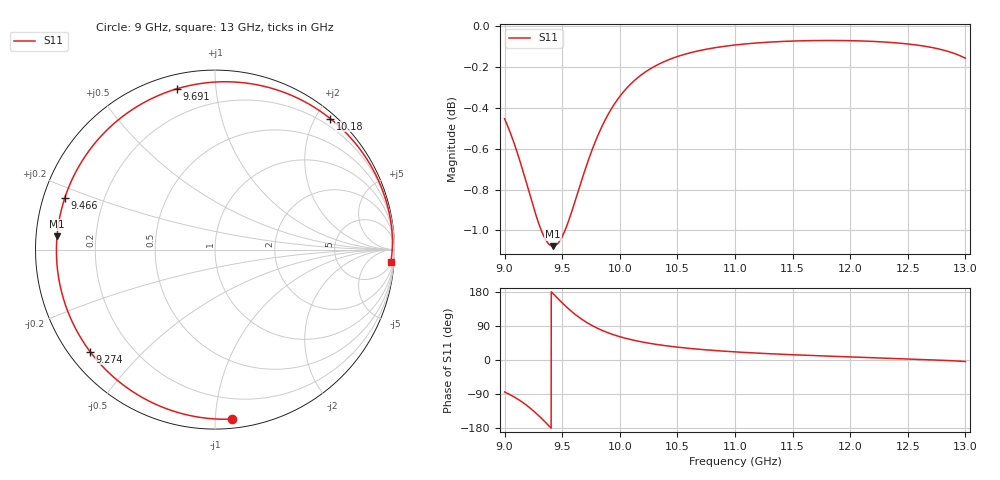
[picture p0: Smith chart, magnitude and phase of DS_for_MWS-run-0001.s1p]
! TOUCHSTONE file generated by CST DESIGN STUDIO
! Date and time: Tue Feb  4 18:11:05 2025
! Project name: C:\Work\MatlabApps\UnitCellOptimizationMatlab\CST\unitcell.cst
! Tree item: Tasks\Sweep1\SPara1\S-Parameters
! Header version: 2024
! Port assignment regex: !\s*Touchstone port\s*([0-9]+)\s*=\s*(CST MWS port|CST DES external port|CST DES block port)\s*(.+)\s* \(\"(.*)\"\)(\s*mode\s*([0-9]+))?.*
! Touchstone port assignment:
! Touchstone port 1 = CST DES external port 1 ("")
# GHz S MA R 50
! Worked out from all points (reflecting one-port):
!   4001 points, 9 GHz to 13 GHz, reference 50 ohm
!   lowest |S11| = -1.1 dB at 9.42 GHz (marker M1), VSWR 16.15, Z = 3.1 + j2.1 ohm
!   phase of S11 starts at -84 deg and turns -280 deg over the sweep
!   S11 on the Smith chart (normalised r, x): 9 GHz: 0.06, -1.10; 9.274 GHz: 0.06, -0.36; 9.466 GHz: 0.06, +0.17; 9.691 GHz: 0.07, +0.79; 10.18 GHz: 0.08, +2.21; 13 GHz: 7, -28
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9  0.9491 -84.4
9.081  0.9364 -97.2
9.15  0.9235 -110.5
9.213  0.9106 -124.8
9.274  0.8986 -140.7
9.314  0.8919 -152.2
9.351  0.8872 -163.3
9.386  0.8843 -174.2
9.42  0.8834 175.2
9.466  0.885 160.9
9.5  0.8882 150.7
9.547  0.8947 137.2
9.593  0.9026 125.2
9.641  0.9116 113.8
9.691  0.9209 103.3
9.76  0.9327 90.8
9.841  0.9445 78.8
9.918  0.9536 69.6
10  0.9612 61.5
10.175  0.9723 48.7
10.323  0.9783 40.9
10.5  0.983 33.9
10.723  0.9867 27.4
11  0.9894 21.4
11.5  0.9916 13.9
12  0.9918 8.2
12.5  0.99 3.0
13  0.9821 -3.9
